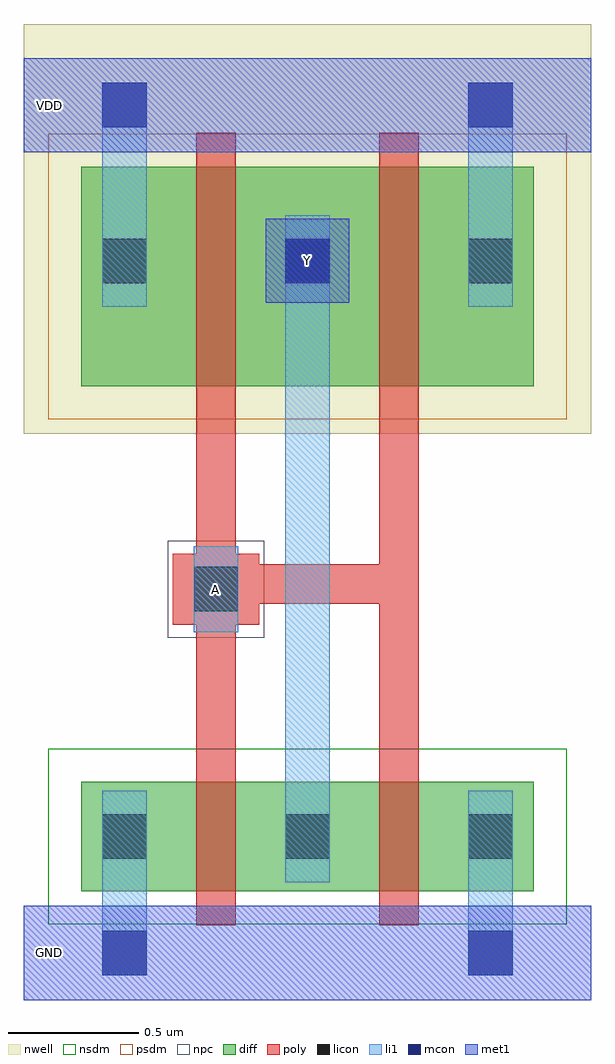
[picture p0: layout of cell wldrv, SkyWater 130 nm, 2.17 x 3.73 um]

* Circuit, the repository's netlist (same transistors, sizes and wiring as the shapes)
* NGSPICE file created from wldrv.ext - technology: sky130A

.subckt wldrv A Y VDD GND
X0 GND A Y VSUBS sky130_fd_pr__nfet_01v8 ad=0.1848 pd=1.72 as=0.1155 ps=0.97 w=0.42 l=0.15
X1 VDD A Y w_0_397# sky130_fd_pr__pfet_01v8 ad=0.3696 pd=2.56 as=0.231 ps=1.39 w=0.84 l=0.15
X2 Y A VDD w_0_397# sky130_fd_pr__pfet_01v8 ad=0.231 pd=1.39 as=0.3696 ps=2.56 w=0.84 l=0.15
X3 Y A GND VSUBS sky130_fd_pr__nfet_01v8 ad=0.1155 pd=0.97 as=0.1848 ps=1.72 w=0.42 l=0.15
.ends

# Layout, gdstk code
import gdstk
lib = gdstk.Library(unit=1e-6, precision=1e-09)
def R(c, l, rs):  # rectangles x0, y0, x1, y1
    for r in rs: c.add(gdstk.rectangle(r[:2], r[2:], *l))
def A(c, l, x, y, w, h, nx, ny, dx, dy):  # array of equal rectangles
    R(c, l, [(x+i*dx, y+j*dy, x+i*dx+w, y+j*dy+h) for i in range(nx) for j in range(ny)])
nwell = (64, 20)
diff = (65, 20)
poly = (66, 20)
licon = (66, 44)
li1 = (67, 20)
mcon = (67, 44)
met1 = (68, 20)
nsdm = (93, 44)
psdm = (94, 20)
npc = (95, 20)

wldrv = lib.new_cell('wldrv')
R(wldrv, nwell, [(0,1.985,2.17,3.55)])
R(wldrv, diff, [(0.22,0.235,1.95,0.655), (0.22,2.165,1.95,3.005)])
R(wldrv, poly, [(0.66,0.105,0.81,1.255), (1.36,0.105,1.51,1.335), (0.57,1.255,0.9,1.335), (0.57,1.335,1.51,1.485), (0.57,1.485,0.9,1.525), (1.36,1.485,1.51,3.135), (0.66,1.525,0.81,3.135)])
A(wldrv, licon, 0.3, 0.36, 0.17, 0.17, 3, 2, 0.7, 2.2)
R(wldrv, licon, [(0.65,1.305,0.82,1.475)])
R(wldrv, li1, [(0.3,-0.085,0.47,0.62), (1.7,-0.085,1.87,0.62), (1,0.27,1.17,2.82), (0.65,1.225,0.82,1.555), (0.3,2.47,0.47,3.325), (1.7,2.47,1.87,3.325)])
R(wldrv, mcon, [(0.3,-0.085,0.47,0.085), (1.7,-0.085,1.87,0.085), (1,2.56,1.17,2.73), (0.3,3.155,0.47,3.325), (1.7,3.155,1.87,3.325)])
R(wldrv, met1, [(0,-0.18,2.17,0.18), (0.925,2.485,1.245,2.805), (0,3.06,2.17,3.42)])
R(wldrv, nsdm, [(0.095,0.11,2.075,0.78)])
R(wldrv, psdm, [(0.095,2.04,2.075,3.13)])
R(wldrv, npc, [(0.55,1.205,0.92,1.575)])
wldrv.add(gdstk.Label('A', (0.735,1.39), layer=67, texttype=5))
wldrv.add(gdstk.Label('Y', (1.085,2.645), layer=68, texttype=5))
wldrv.add(gdstk.Label('VDD', (0.1,3.24), layer=68, texttype=5))
wldrv.add(gdstk.Label('GND', (0.1,0), layer=68, texttype=5))

lib.write_gds('wldrv.gds')
